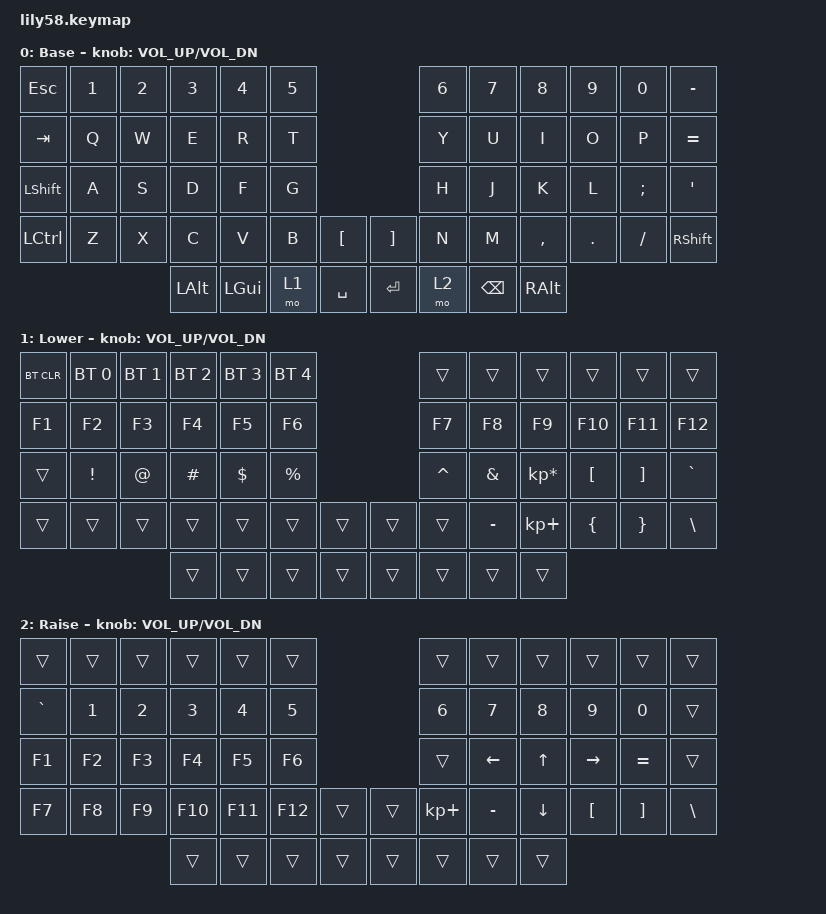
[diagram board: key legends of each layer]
/*
 * Copyright (c) 2020 The ZMK Contributors
 *
 * SPDX-License-Identifier: MIT
 */

#include <behaviors.dtsi>
#include <dt-bindings/zmk/bt.h>
#include <dt-bindings/zmk/keys.h>

/ {
    keymap {
        compatible = "zmk,keymap";

        default_layer {
            // ------------------------------------------------------------------------------------------------------------
            // |  ESC  |  1  |  2  |  3   |  4   |  5   |                   |  6   |  7    |  8    |  9   |   0   |   `   |
            // |  TAB  |  Q  |  W  |  E   |  R   |  T   |                   |  Y   |  U    |  I    |  O   |   P   |   -   |
            // |  CTRL |  A  |  S  |  D   |  F   |  G   |                   |  H   |  J    |  K    |  L   |   ;   |   '   |
            // | SHIFT |  Z  |  X  |  C   |  V   |  B   |   "["  |  |  "]"  |  N   |  M    |  ,    |  .   |   /   | SHIFT |
            //                     | ALT  | GUI  | LOWER|  SPACE |  | ENTER | RAISE| BSPC  | GUI   |

            display-name = "Base";
            bindings = <
&kp ESC           &kp N1  &kp N2  &kp N3    &kp N4    &kp N5                         &kp N6  &kp N7         &kp N8         &kp N9   &kp N0    &kp MINUS
&kp TAB           &kp Q   &kp W   &kp E     &kp R     &kp T                          &kp Y   &kp U          &kp I          &kp O    &kp P     &kp EQUAL
&kp LEFT_SHIFT    &kp A   &kp S   &kp D     &kp F     &kp G                          &kp H   &kp J          &kp K          &kp L    &kp SEMI  &kp SINGLE_QUOTE
&kp LEFT_CONTROL  &kp Z   &kp X   &kp C     &kp V     &kp B   &kp LBKT     &kp RBKT  &kp N   &kp M          &kp COMMA      &kp DOT  &kp FSLH  &kp RIGHT_SHIFT
                                  &kp LALT  &kp LGUI  &mo 1   &kp SPACE    &kp RET   &mo 2   &kp BACKSPACE  &kp RIGHT_ALT
            >;

            sensor-bindings = <&inc_dec_kp C_VOL_UP C_VOL_DN>;
        };

        lower_layer {
            // ------------------------------------------------------------------------------------------------------------
            // | BTCLR | BT1 | BT2 |  BT3 |  BT4 |  BT5 |                   |      |       |       |      |       |       |
            // |  F1   |  F2 |  F3 |  F4  |  F5  |  F6  |                   |  F7  |  F8   |  F9   |  F10 |  F11  |  F12  |
            // |   `   |  !  |  @  |  #   |  $   |  %   |                   |  ^   |  &    |  *    |  (   |   )   |   ~   |
            // |       |     |     |      |      |      |        |  |       |      |  _    |  +    |  {   |   }   |  "|"  |
            //                     |      |      |      |        |  |       |      |       |       |

            display-name = "Lower";
            bindings = <
&bt BT_CLR  &bt BT_SEL 0  &bt BT_SEL 1  &bt BT_SEL 2  &bt BT_SEL 3  &bt BT_SEL 4                    &trans     &trans     &trans           &trans            &trans             &trans
&kp F1      &kp F2        &kp F3        &kp F4        &kp F5        &kp F6                          &kp F7     &kp F8     &kp F9           &kp F10           &kp F11            &kp F12
&trans      &kp EXCL      &kp AT        &kp HASH      &kp DOLLAR    &kp PRCNT                       &kp CARET  &kp AMPS   &kp KP_MULTIPLY  &kp LEFT_BRACKET  &kp RIGHT_BRACKET  &kp GRAVE
&trans      &trans        &trans        &trans        &trans        &trans        &trans    &trans  &trans     &kp MINUS  &kp KP_PLUS      &kp LEFT_BRACE    &kp RIGHT_BRACE    &kp BACKSLASH
                                        &trans        &trans        &trans        &trans    &trans  &trans     &trans     &trans
            >;

            sensor-bindings = <&inc_dec_kp C_VOL_UP C_VOL_DN>;
        };

        raise_layer {
            // ------------------------------------------------------------------------------------------------------------
            // |       |     |     |      |      |      |                   |      |       |       |      |       |       |
            // |   `   |  1  |  2  |  3   |  4   |  5   |                   |  6   |   7   |   8   |  9   |   0   |       |
            // |   F1  |  F2 |  F3 |  F4  |  F5  |  F6  |                   |      |   <-  |   v   |  ^   |  ->   |       |
            // |   F7  |  F8 |  F9 |  F10 |  F11 |  F12 |        |  |       |  +   |   -   |   =   |  [   |   ]   |   \   |
            //                     |      |      |      |        |  |       |      |       |       |

            display-name = "Raise";
            bindings = <
&trans     &trans  &trans  &trans   &trans   &trans                     &trans       &trans     &trans        &trans     &trans     &trans
&kp GRAVE  &kp N1  &kp N2  &kp N3   &kp N4   &kp N5                     &kp N6       &kp N7     &kp N8        &kp N9     &kp N0     &trans
&kp F1     &kp F2  &kp F3  &kp F4   &kp F5   &kp F6                     &trans       &kp LEFT   &kp UP_ARROW  &kp RIGHT  &kp EQUAL  &trans
&kp F7     &kp F8  &kp F9  &kp F10  &kp F11  &kp F12  &trans    &trans  &kp KP_PLUS  &kp MINUS  &kp DOWN      &kp LBKT   &kp RBKT   &kp BSLH
                           &trans   &trans   &trans   &trans    &trans  &trans       &trans     &trans
            >;

            sensor-bindings = <&inc_dec_kp C_VOL_UP C_VOL_DN>;
        };

        extra_1 { status = "reserved"; };

        extra_2 { status = "reserved"; };

        extra_3 { status = "reserved"; };
    };
};
